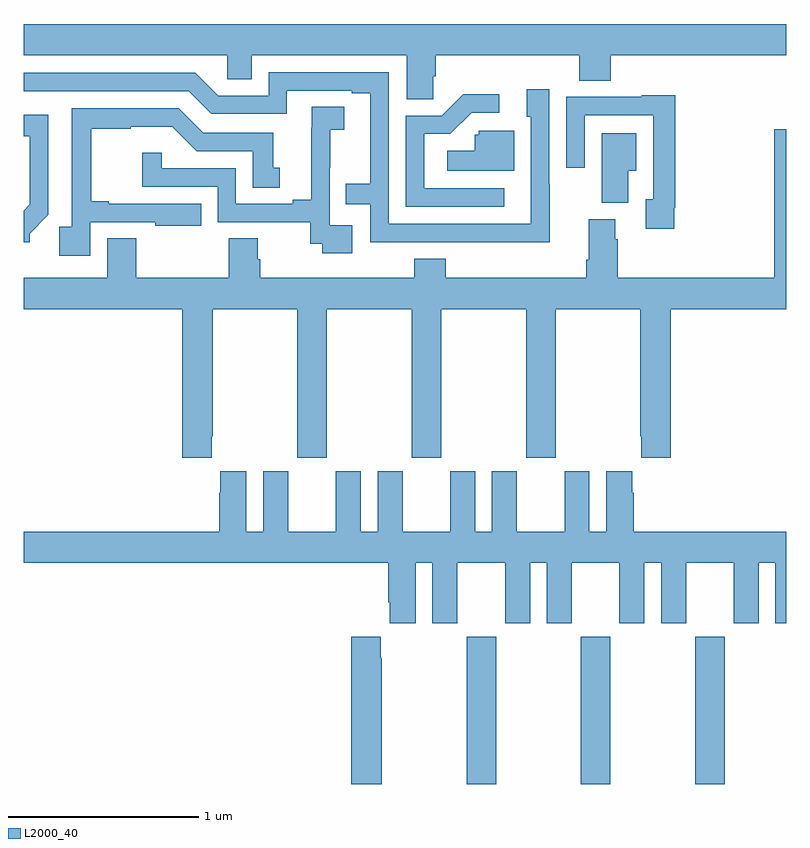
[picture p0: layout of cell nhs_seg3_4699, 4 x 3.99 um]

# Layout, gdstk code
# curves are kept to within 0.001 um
import gdstk
lib = gdstk.Library(unit=1e-6, precision=1e-09)
def R(c, l, rs):  # rectangles x0, y0, x1, y1
    for r in rs: c.add(gdstk.rectangle(r[:2], r[2:], *l))
def A(c, l, x, y, w, h, nx, ny, dx, dy):  # array of equal rectangles
    R(c, l, [(x+i*dx, y+j*dy, x+i*dx+w, y+j*dy+h) for i in range(nx) for j in range(ny)])
def P(c, l, *ps):  # polygons
    for p in ps: c.add(gdstk.Polygon(p, *l))
L2000_40 = (2000, 40)

nhs_seg3_4699 = lib.new_cell('nhs_seg3_4699')
A(nhs_seg3_4699, L2000_40, 365.323, 722.4, 0.155, 0.772, 3, 1, 0.6, 0)
P(nhs_seg3_4699, L2000_40, [(365.148,726.115),(365.162,726.115),(365.162,726.224),(365.915,726.224),(365.915,726.091),(366.08,726.091),(366.08,726.224),(367,726.224),(367,726.388),(363,726.388),(363,726.224),(364.068,726.224),(364.068,726.097),(364.195,726.097),(364.195,726.224),(365.009,726.224),(365.009,725.992),(365.148,725.992)],
  [(365.759,725.546),(365.757,725.546),(365.757,726.046),(365.639,726.046),(365.639,725.901),(365.661,725.901),(365.661,725.34),(364.914,725.34),(364.914,726.135),(364.284,726.135),(364.284,726.012),(364.02,726.012),(363.9,726.132),(363,726.132),(363,726.036),(363.864,726.036),(363.984,725.916),(364.38,725.916),(364.38,726.039),(364.721,726.039),(364.721,726.024),(364.817,726.024),(364.817,725.551),(364.69,725.551),(364.69,725.442),(364.818,725.442),(364.818,725.244),(365.759,725.243)],
  [(365.521,725.526),(365.1,725.526),(365.1,725.811),(365.238,725.811),(365.349,725.922),(365.494,725.922),(365.494,726.02),(365.306,726.02),(365.193,725.907),(365.004,725.907),(365.004,725.43),(365.521,725.43)],
  [(366.412,725.425),(366.419,725.425),(366.419,726.013),(366.243,726.013),(366.243,726.006),(365.847,726.006),(365.847,725.634),(365.943,725.634),(365.943,725.91),(366.303,725.91),(366.303,725.469),(366.263,725.469),(366.263,725.313),(366.412,725.313)],
  [(364.723,725.331),(364.605,725.331),(364.605,725.635),(364.607,725.635),(364.607,725.833),(364.681,725.833),(364.681,725.954),(364.51,725.954),(364.51,725.843),(364.508,725.843),(364.508,725.465),(364.412,725.465),(364.412,725.445),(364.113,725.445),(364.113,725.631),(363.723,725.631),(363.723,725.713),(363.622,725.713),(363.622,725.535),(364.017,725.535),(364.017,725.349),(364.504,725.349),(364.504,725.235),(364.567,725.235),(364.567,725.184),(364.723,725.184)],
  [(363.348,725.349),(363.689,725.349),(363.689,725.33),(363.932,725.33),(363.932,725.445),(363.445,725.445),(363.445,725.458),(363.353,725.458),(363.353,725.838),(363.56,725.838),(363.56,725.849),(363.778,725.849),(363.906,725.721),(364.202,725.721),(364.202,725.53),(364.342,725.53),(364.342,725.634),(364.309,725.634),(364.309,725.817),(363.942,725.817),(363.813,725.946),(363.252,725.946),(363.252,725.323),(363.187,725.323),(363.187,725.172),(363.348,725.172)],
  [(363.03,725.287),(363.129,725.386),(363.129,725.911),(363,725.911),(363,725.798),(363.032,725.798),(363.032,725.441),(363,725.409),(363,725.243),(363.03,725.243)],
  [(363.985,724.225),(363.99,724.225),(363.99,724.892),(364.435,724.892),(364.435,724.113),(364.59,724.113),(364.59,724.892),(365.035,724.892),(365.035,724.113),(365.19,724.113),(365.19,724.892),(365.635,724.892),(365.635,724.113),(365.79,724.113),(365.79,724.892),(366.235,724.892),(366.235,724.225),(366.239,724.225),(366.239,724.113),(366.395,724.113),(366.395,724.892),(367,724.892),(367,725.836),(366.938,725.836),(366.938,725.056),(366.116,725.056),(366.116,725.258),(366.103,725.258),(366.103,725.364),(365.963,725.364),(365.963,725.152),(365.951,725.152),(365.951,725.056),(365.213,725.056),(365.213,725.155),(365.048,725.155),(365.048,725.056),(364.241,725.056),(364.241,725.154),(364.228,725.154),(364.228,725.264),(364.076,725.264),(364.076,725.056),(363.59,725.056),(363.59,725.264),(363.437,725.264),(363.437,725.056),(363,725.056),(363,724.892),(363.83,724.892),(363.83,724.113),(363.985,724.113)],
  [(365.572,725.829),(365.388,725.829),(365.388,725.808),(365.367,725.808),(365.367,725.722),(365.223,725.722),(365.223,725.618),(365.572,725.618)],
  [(366.172,725.618),(366.214,725.618),(366.214,725.815),(366.032,725.815),(366.032,725.449),(366.172,725.449)],
  [(365.056,723.56),(365.144,723.56),(365.144,723.243),(365.275,723.243),(365.275,723.56),(365.525,723.56),(365.525,723.243),(365.656,723.243),(365.656,723.56),(365.744,723.56),(365.744,723.243),(365.875,723.243),(365.875,723.56),(366.125,723.56),(366.125,723.243),(366.256,723.243),(366.256,723.56),(366.344,723.56),(366.344,723.243),(366.475,723.243),(366.475,723.56),(366.725,723.56),(366.725,723.243),(366.856,723.243),(366.856,723.56),(366.944,723.56),(366.944,723.243),(367,723.243),(367,723.724),(366.2,723.724),(366.2,723.929),(366.193,723.929),(366.193,724.042),(366.056,724.042),(366.056,723.724),(365.968,723.724),(365.968,724.042),(365.837,724.042),(365.837,723.724),(365.587,723.724),(365.587,724.042),(365.456,724.042),(365.456,723.724),(365.368,723.724),(365.368,724.042),(365.237,724.042),(365.237,723.724),(364.987,723.724),(364.987,724.042),(364.856,724.042),(364.856,723.724),(364.768,723.724),(364.768,724.042),(364.637,724.042),(364.637,723.724),(364.387,723.724),(364.387,724.042),(364.256,724.042),(364.256,723.724),(364.168,723.724),(364.168,724.042),(364.031,724.042),(364.031,723.929),(364.025,723.929),(364.025,723.724),(363,723.724),(363,723.56),(364.913,723.56),(364.913,723.355),(364.919,723.355),(364.919,723.243),(365.056,723.243)],
  [(364.878,723.059),(364.873,723.059),(364.873,723.172),(364.718,723.172),(364.718,722.4),(364.878,722.4)])

lib.write_gds('nhs_seg3_4699.gds')
